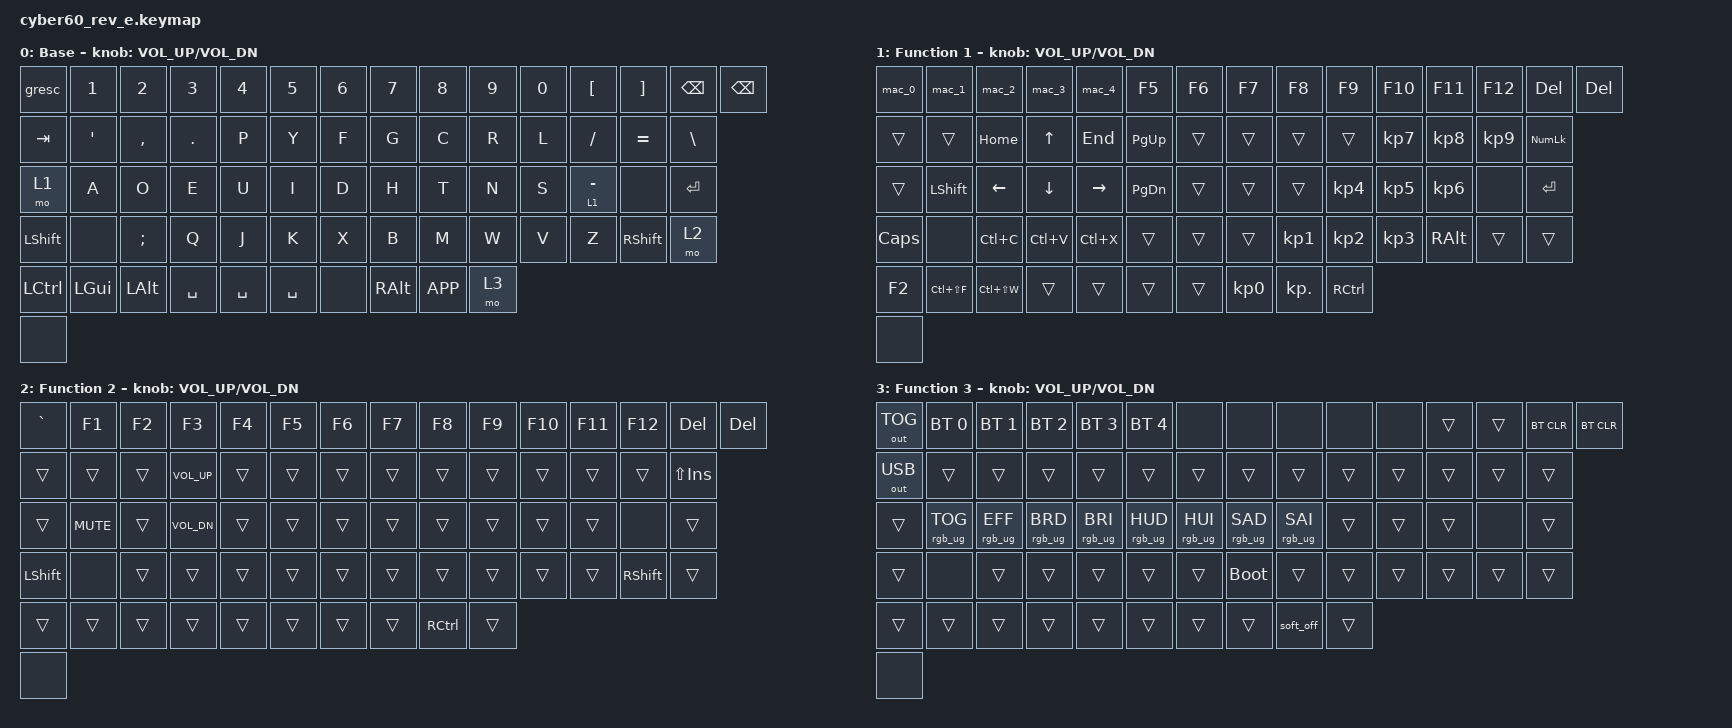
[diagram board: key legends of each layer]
#include <behaviors.dtsi>
#include <dt-bindings/zmk/bt.h>
#include <dt-bindings/zmk/keys.h>
#include <dt-bindings/zmk/rgb.h>
#include <dt-bindings/zmk/outputs.h>

// Tweak the layer-tap behavior to make switching layers feel instant
&lt {
    tapping-term-ms = <150>;
    flavor = "balanced";
};

/ {
    macros {
        mac_0: mac_0 {
            compatible = "zmk,behavior-macro";
            #binding-cells = <0>;
            wait-ms = <40>;
            tap-ms = <40>;
            bindings = <&kp N0 &kp DOT>;
        };
        mac_1: mac_1 {
            compatible = "zmk,behavior-macro";
            #binding-cells = <0>;
            wait-ms = <40>;
            tap-ms = <40>;
            bindings = <&kp N1 &kp DOT>;
        };
        mac_2: mac_2 {
            compatible = "zmk,behavior-macro";
            #binding-cells = <0>;
            wait-ms = <40>;
            tap-ms = <40>;
            bindings = <&kp N2 &kp DOT>;
        };
        mac_3: mac_3 {
            compatible = "zmk,behavior-macro";
            #binding-cells = <0>;
            wait-ms = <40>;
            tap-ms = <40>;
            bindings = <&kp N3 &kp DOT>;
        };
        mac_4: mac_4 {
            compatible = "zmk,behavior-macro";
            #binding-cells = <0>;
            wait-ms = <40>;
            tap-ms = <40>;
            bindings = <&kp N4 &kp DOT>;
        };
    };

    keymap {
        compatible = "zmk,keymap";
        
        layer_0 {
            display-name = "Base";
            bindings = <
    // Row 1 (15 slots): Esc through Backspace (Backspace spans slots 14 & 15)
    &gresc    &kp N1    &kp N2    &kp N3    &kp N4    &kp N5    &kp N6    &kp N7    &kp N8    &kp N9    &kp N0    &kp LBKT  &kp RBKT  &kp BSPC  &kp BSPC
    
    // Row 2 (14 slots): Tab through Backslash
    &kp TAB   &kp SQT   &kp COMMA &kp DOT   &kp P     &kp Y     &kp F     &kp G     &kp C     &kp R     &kp L     &kp FSLH  &kp EQUAL &kp BSLH
    
    // Row 3 (14 slots): Layer 1 modifier through Enter (ISO Hash slot is &none)
    &mo 1     &kp A     &kp O     &kp E     &kp U     &kp I     &kp D     &kp H     &kp T     &kp N     &kp S     &lt 1 MINUS &none &kp RET
    
    // Row 4 (14 slots): Left Shift through Layer 2 modifier (ISO Slash slot is &none)
    &kp LSHFT &none     &kp SEMI  &kp Q     &kp J     &kp K     &kp X     &kp B     &kp M     &kp W     &kp V     &kp Z     &kp RSHFT &mo 2
    
    // Row 5 (10 slots): Bottom row modifiers and Spacebar (Spacebar spans 3 slots)
    &kp LCTRL &kp LGUI  &kp LALT  &kp SPACE &kp SPACE &kp SPACE &none     &kp RALT  &kp K_APP &mo 3 
    
    // Row 6 (1 slot): Rotary encoder push-button slot
    &none
            >;
            sensor-bindings = <&inc_dec_kp C_VOL_UP C_VOL_DN>;
        };

        layer_1 {
            display-name = "Function 1";
            bindings = <
    &mac_0    &mac_1    &mac_2    &mac_3    &mac_4    &kp F5    &kp F6    &kp F7    &kp F8    &kp F9    &kp F10   &kp F11   &kp F12   &kp DEL   &kp DEL
    &trans    &trans    &kp HOME  &kp UP    &kp END   &kp PG_UP &trans    &trans    &trans    &trans    &kp KP_N7 &kp KP_N8 &kp KP_N9 &kp KP_NUM
    &trans    &kp LSHFT &kp LEFT  &kp DOWN  &kp RIGHT &kp PG_DN &trans    &trans    &trans    &kp KP_N4 &kp KP_N5 &kp KP_N6 &none     &kp RET
    &kp CLCK  &none     &kp LC(C) &kp LC(V) &kp LC(X) &trans    &trans    &trans    &kp KP_N1 &kp KP_N2 &kp KP_N3 &kp RALT  &trans    &trans
    &kp F2    &kp LC(LS(F)) &kp LC(LS(W)) &trans &trans &trans  &trans    &kp KP_N0 &kp KP_DOT &kp RCTRL
    &none
            >;
            sensor-bindings = <&inc_dec_kp C_VOL_UP C_VOL_DN>;
        };

        layer_2 {
            display-name = "Function 2";
            bindings = <
    &kp GRAVE &kp F1    &kp F2    &kp F3    &kp F4    &kp F5    &kp F6    &kp F7    &kp F8    &kp F9    &kp F10   &kp F11   &kp F12   &kp DEL   &kp DEL
    &trans    &trans    &trans    &kp C_VOL_UP &trans &trans    &trans    &trans    &trans    &trans    &trans    &trans    &trans    &kp LS(INS)
    &trans    &kp C_MUTE &trans   &kp C_VOL_DN &trans &trans    &trans    &trans    &trans    &trans    &trans    &trans    &none     &trans
    &kp LSHFT &none     &trans    &trans    &trans    &trans    &trans    &trans    &trans    &trans    &trans    &trans    &kp RSHFT &trans
    &trans    &trans    &trans    &trans    &trans    &trans    &trans    &trans    &kp RCTRL &trans
    &none
            >;
            sensor-bindings = <&inc_dec_kp C_VOL_UP C_VOL_DN>;
        };

        layer_3 {
            display-name = "Function 3";
            bindings = <
    &out OUT_TOG  &bt BT_SEL 0  &bt BT_SEL 1  &bt BT_SEL 2  &bt BT_SEL 3  &bt BT_SEL 4  &none     &none     &none     &none     &none     &trans    &trans    &bt BT_CLR &bt BT_CLR
    &out OUT_USB  &trans        &trans        &trans        &trans        &trans        &trans    &trans    &trans    &trans    &trans    &trans    &trans    &trans
    &trans        &rgb_ug RGB_TOG &rgb_ug RGB_EFF &rgb_ug RGB_BRD &rgb_ug RGB_BRI &rgb_ug RGB_HUD &rgb_ug RGB_HUI &rgb_ug RGB_SAD &rgb_ug RGB_SAI &trans &trans &trans &none &trans
    &trans        &none         &trans        &trans        &trans        &trans        &trans    &bootloader &trans &trans   &trans    &trans    &trans    &trans
    &trans        &trans        &trans        &trans        &trans        &trans        &trans    &trans    &soft_off &trans
    &none
            >;
            sensor-bindings = <&inc_dec_kp C_VOL_UP C_VOL_DN>;
        };
        
        layer_4 {
            status = "reserved";
        };
    };
};
